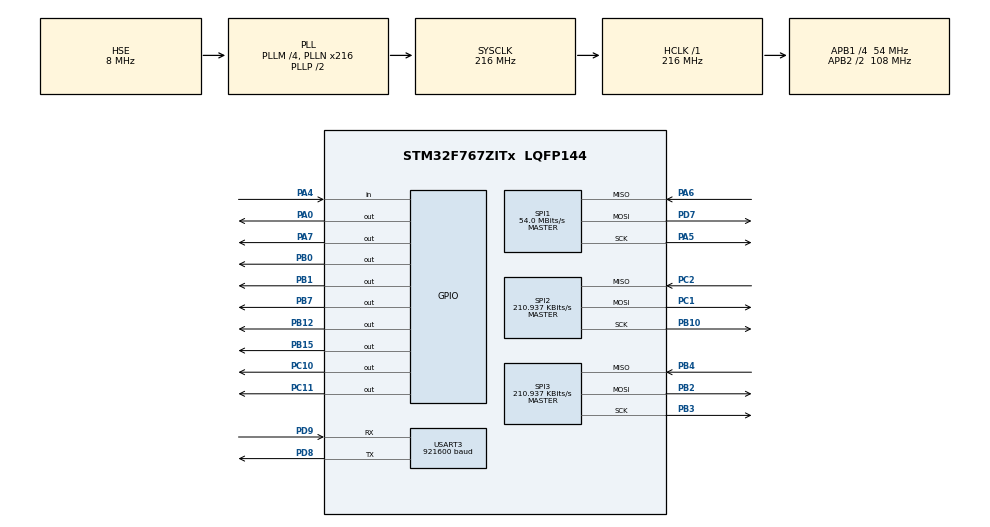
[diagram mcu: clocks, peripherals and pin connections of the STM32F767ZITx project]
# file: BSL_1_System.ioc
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Dma.Request0=USART3_RX
Dma.USART3_RX.0.Direction=DMA_PERIPH_TO_MEMORY
Dma.USART3_RX.0.FIFOMode=DMA_FIFOMODE_DISABLE
Dma.USART3_RX.0.Instance=DMA1_Stream1
Dma.USART3_RX.0.MemDataAlignment=DMA_MDATAALIGN_BYTE
Dma.USART3_RX.0.MemInc=DMA_MINC_ENABLE
Dma.USART3_RX.0.Mode=DMA_NORMAL
Dma.USART3_RX.0.PeriphDataAlignment=DMA_PDATAALIGN_BYTE
Dma.USART3_RX.0.PeriphInc=DMA_PINC_DISABLE
Dma.USART3_RX.0.Priority=DMA_PRIORITY_LOW
Mcu.Family=STM32F7
Mcu.Name=STM32F767ZITx
Mcu.Package=LQFP144
NVIC.DMA1_Stream1_IRQn=true\:0\:0\:false\:false\:true\:false\:true
NVIC.PriorityGroup=NVIC_PRIORITYGROUP_4
NVIC.USART3_IRQn=true\:0\:0\:false\:false\:true\:true\:true
PA0/WKUP.GPIO_Speed=GPIO_SPEED_FREQ_VERY_HIGH
PA0/WKUP.Signal=GPIO_Output
PA4.Signal=GPIO_Input
PA5.Mode=Full_Duplex_Master
PA5.Signal=SPI1_SCK
PA6.Mode=Full_Duplex_Master
PA6.Signal=SPI1_MISO
PA7.GPIO_Speed=GPIO_SPEED_FREQ_VERY_HIGH
PA7.Signal=GPIO_Output
PB0.GPIO_Speed=GPIO_SPEED_FREQ_VERY_HIGH
PB0.PinState=GPIO_PIN_SET
PB0.Signal=GPIO_Output
PB1.GPIO_Speed=GPIO_SPEED_FREQ_VERY_HIGH
PB1.Signal=GPIO_Output
PB10.Mode=Full_Duplex_Master
PB10.Signal=SPI2_SCK
PB12.GPIO_Speed=GPIO_SPEED_FREQ_VERY_HIGH
PB12.Signal=GPIO_Output
PB15.GPIO_Speed=GPIO_SPEED_FREQ_VERY_HIGH
PB15.Signal=GPIO_Output
PB2.Mode=Full_Duplex_Master
PB2.Signal=SPI3_MOSI
PB3.Mode=Full_Duplex_Master
PB3.Signal=SPI3_SCK
PB4.Mode=Full_Duplex_Master
PB4.Signal=SPI3_MISO
PB7.Signal=GPIO_Output
PC1.Mode=Full_Duplex_Master
PC1.Signal=SPI2_MOSI
PC10.Signal=GPIO_Output
PC11.GPIO_Speed=GPIO_SPEED_FREQ_VERY_HIGH
PC11.PinState=GPIO_PIN_SET
PC11.Signal=GPIO_Output
PC2.Mode=Full_Duplex_Master
PC2.Signal=SPI2_MISO
PD7.Mode=Full_Duplex_Master
PD7.Signal=SPI1_MOSI
PD8.Mode=Asynchronous
PD8.Signal=USART3_TX
PD9.Mode=Asynchronous
PD9.Signal=USART3_RX
PH0/OSC_IN.Mode=HSE-External-Oscillator
PH0/OSC_IN.Signal=RCC_OSC_IN
PH1/OSC_OUT.Mode=HSE-External-Oscillator
PH1/OSC_OUT.Signal=RCC_OSC_OUT
ProjectManager.HeapSize=0x200
ProjectManager.StackSize=0x400
ProjectManager.TargetToolchain=STM32CubeIDE
RCC.AHBFreq_Value=216000000
RCC.APB1CLKDivider=RCC_HCLK_DIV4
RCC.APB1Freq_Value=54000000
RCC.APB1TimFreq_Value=108000000
RCC.APB2CLKDivider=RCC_HCLK_DIV2
RCC.APB2Freq_Value=108000000
RCC.APB2TimFreq_Value=216000000
RCC.CortexFreq_Value=216000000
RCC.HCLKFreq_Value=216000000
RCC.HSE_VALUE=8000000
RCC.HSI_VALUE=16000000
RCC.LSE_VALUE=32768
RCC.PLLM=4
RCC.PLLN=216
RCC.PLLQ=12
RCC.PLLSourceVirtual=RCC_PLLSOURCE_HSE
RCC.SYSCLKFreq_VALUE=216000000
RCC.SYSCLKSource=RCC_SYSCLKSOURCE_PLLCLK
RCC.USBFreq_Value=36000000
RCC.VCOOutputFreq_Value=432000000
SPI1.BaudRatePrescaler=SPI_BAUDRATEPRESCALER_2
SPI1.CalculateBaudRate=54.0 MBits/s
SPI1.DataSize=SPI_DATASIZE_12BIT
SPI1.Direction=SPI_DIRECTION_2LINES
SPI1.Mode=SPI_MODE_MASTER
SPI1.VirtualType=VM_MASTER
SPI2.BaudRatePrescaler=SPI_BAUDRATEPRESCALER_256
SPI2.CLKPolarity=SPI_POLARITY_HIGH
SPI2.CalculateBaudRate=210.937 KBits/s
SPI2.DataSize=SPI_DATASIZE_16BIT
SPI2.Direction=SPI_DIRECTION_2LINES
SPI2.Mode=SPI_MODE_MASTER
SPI2.VirtualType=VM_MASTER
SPI3.BaudRatePrescaler=SPI_BAUDRATEPRESCALER_256
SPI3.CLKPolarity=SPI_POLARITY_HIGH
SPI3.CalculateBaudRate=210.937 KBits/s
SPI3.DataSize=SPI_DATASIZE_16BIT
SPI3.Direction=SPI_DIRECTION_2LINES
SPI3.Mode=SPI_MODE_MASTER
SPI3.VirtualType=VM_MASTER
TIM1.Channel-PWM\ Generation5\ No\ Output=TIM_CHANNEL_5
TIM1.OCFastMode_PWM-PWM\ Generation5\ No\ Output=TIM_OCFAST_ENABLE
TIM1.OCPolarity_5=TIM_OCPOLARITY_LOW
TIM2.Period=0xFFFF-1
USART3.BaudRate=921600
USART3.VirtualMode-Asynchronous=VM_ASYNC
VP_TIM1_VS_ClockSourceINT.Mode=Internal
VP_TIM1_VS_no_output5.Mode=PWM Generation5 No Output
VP_TIM2_VS_ClockSourceINT.Mode=Internal
board=custom

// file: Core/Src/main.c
/* USER CODE BEGIN Header */
/**
  ******************************************************************************
  * @file           : main.c
  * @brief          : Main program body
  ******************************************************************************
	WRITTEN BY A. DI GIROLAMO IN JULY 2020 FOR THE MAGICOIL PROJECT
	LAST REVISION: SEPTEMBER 7th 2020
  ******************************************************************************
  */
/* USER CODE END Header */

#include "main.h"

/* USER CODE BEGIN Includes */
#include "math.h"
/* USER CODE END Includes */

/* USER CODE BEGIN PTD */
#define samplesize 170000
/* USER CODE END PTD */

SPI_HandleTypeDef hspi2;
SPI_HandleTypeDef hspi3;

TIM_HandleTypeDef htim1;
TIM_HandleTypeDef htim2;

UART_HandleTypeDef huart3;
DMA_HandleTypeDef hdma_usart3_rx;

void SystemClock_Config(void);
static void MX_GPIO_Init(void);
static void MX_DMA_Init(void);
static void MX_SPI1_Init(void);
static void MX_SPI2_Init(void);
static void MX_TIM1_Init(void);
static void MX_USART3_UART_Init(void);
static void MX_TIM2_Init(void);
static void MX_SPI3_Init(void);

/* USER CODE BEGIN 0 */
uint8_t the_stuff[3][samplesize];
uint32_t read_data;
uint16_t sampleRateDivider = 700;

void delay_10ns (uint16_t us)
{
	__HAL_TIM_SET_COUNTER(&htim2,0);  // set the counter value a 0
	while (__HAL_TIM_GET_COUNTER(&htim2) < us);  // wait for the counter to reach the us input in the parameter
}

void adcRead1000(){
	uint32_t i;
	for(i = 0; i<samplesize; i++){
		LL_GPIO_SetOutputPin(GPIOA, LL_GPIO_PIN_7);
		LL_GPIO_ResetOutputPin(GPIOA, LL_GPIO_PIN_7);
		while (LL_SPI_IsActiveFlag_RXNE(SPI1))
		{
			(void)(uint16_t)(READ_REG(SPI1->DR)); // flush any FIFO content
		}
		__IO uint16_t *spidr = ((__IO uint16_t *)&SPI1->DR);
		*spidr = 0xFFFF;
		uint16_t first = (uint16_t)(READ_REG(SPI1->DR));
		*spidr = 0xFFFF;
		uint16_t second = (uint16_t)(READ_REG(SPI1->DR));
		uint32_t first2 = first;
		read_data = ((first2<<12)+(second));
		the_stuff[2][i] = read_data;
		the_stuff[1][i] = (read_data >> 8);
		the_stuff[0][i] = (read_data >> 16);
		//delay_10ns(sampleRateDivider);
	}
}

void transmit1000(){
	uint32_t i;
	uint32_t j;
	for(i  = 0; i <samplesize; i++){
		for(j = 0; j<3; j++){
			HAL_UART_Transmit(&huart3, (uint8_t*)&the_stuff[j][i], sizeof(the_stuff[j][i]), 0xFFFF);
		}
	}
}
void AD9833_tx2(SPI_HandleTypeDef *hspi, uint16_t dt, uint8_t DDS_Num) {
	uint16_t data[1] = { 0 };
	data[0] = dt;
	LL_GPIO_ResetOutputPin(GPIOB, LL_GPIO_PIN_15);
	HAL_SPI_Transmit(hspi, (uint8_t * )&data[0], 1, HAL_MAX_DELAY);
	LL_GPIO_SetOutputPin(GPIOB, LL_GPIO_PIN_15);

}

void AD9833_Init2(SPI_HandleTypeDef *hspi, uint8_t DDS_Num) {
	uint16_t data;
	data = 0x21 << 8;
	AD9833_tx2(hspi, data, DDS_Num);
}
uint64_t AD9833_freq_calc2(uint64_t freq, uint64_t clk) {
	static uint64_t ret;
	static uint64_t retf;

	retf = (freq * (2 << 27)) / clk;
	ret = retf;
	return ret;
}
void AD9833_set2(SPI_HandleTypeDef *hspi, uint32_t freq, uint16_t phase,
		uint8_t reset, uint8_t DDS_Num) {

	static uint16_t fq1maskand = 0b0011111111111111;
	static uint16_t fq1maskor = 0b0100000000000000;
	static uint16_t ph1maskand = 0b1101111111111111;
	static uint16_t ph1markor = 0b1100000000000000;
	static uint16_t ftmask = 0b0011111111111111;
	static uint16_t twmask = 0b0000111111111111;

	static uint16_t fqlsb;
	static uint16_t fqmsb;

	static uint64_t FreqReg;
	static uint16_t PhReg;
	const uint64_t fmclk = 25000000;

	if (reset)
		AD9833_Init2(hspi, DDS_Num);

	FreqReg = AD9833_freq_calc2(freq, fmclk);
	fqlsb = FreqReg & ftmask;
	fqmsb = (FreqReg >> 14) & ftmask;

	fqlsb = fq1maskand & fqlsb;
	fqlsb = fq1maskor | fqlsb;
	fqmsb = fq1maskand & fqmsb;
	fqmsb = fq1maskor | fqmsb;

	PhReg = (phase * 2 * M_PI) / 4096;
	PhReg &= twmask;

	PhReg &= ph1maskand;
	PhReg |= ph1markor;

	AD9833_tx2(hspi, fqlsb, DDS_Num);
	AD9833_tx2(hspi, fqmsb, DDS_Num);
	AD9833_tx2(hspi, PhReg, DDS_Num);
	if (reset)
		AD9833_tx2(hspi, 0x2000, DDS_Num);
}
// NUMBER 1 DDS:
void AD9833_tx(SPI_HandleTypeDef *hspi, uint16_t dt, uint8_t DDS_Num) {
	uint16_t data[1] = { 0 };
	data[0] = dt;
	LL_GPIO_ResetOutputPin(GPIOB, LL_GPIO_PIN_12);
	HAL_SPI_Transmit(hspi, (uint8_t * )&data[0], 1, HAL_MAX_DELAY);
	LL_GPIO_SetOutputPin(GPIOB, LL_GPIO_PIN_12);
}

void AD9833_Init(SPI_HandleTypeDef *hspi, uint8_t DDS_Num) {
	uint16_t data;
	data = 0x21 << 8;
	AD9833_tx(hspi, data, DDS_Num);
}
uint64_t AD9833_freq_calc(uint64_t freq, uint64_t clk) {
	static uint64_t ret;
	static uint64_t retf;

	retf = (freq * (2 << 27)) / clk;
	ret = retf;
	return ret;
}
void AD9833_set(SPI_HandleTypeDef *hspi, uint32_t freq, uint16_t phase,
		uint8_t reset, uint8_t DDS_Num) {

	static uint16_t fq1maskand = 0b0011111111111111;
	static uint16_t fq1maskor = 0b0100000000000000;
	static uint16_t ph1maskand = 0b1101111111111111;
	static uint16_t ph1markor = 0b1100000000000000;
	static uint16_t ftmask = 0b0011111111111111;
	static uint16_t twmask = 0b0000111111111111;

	static uint16_t fqlsb;
	static uint16_t fqmsb;

	static uint64_t FreqReg;
	static uint16_t PhReg;
	const uint64_t fmclk = 25000000;

	if (reset)
		AD9833_Init(hspi, DDS_Num);

	FreqReg = AD9833_freq_calc(freq, fmclk);
	fqlsb = FreqReg & ftmask;
	fqmsb = (FreqReg >> 14) & ftmask;

	fqlsb = fq1maskand & fqlsb;
	fqlsb = fq1maskor | fqlsb;
	fqmsb = fq1maskand & fqmsb;
	fqmsb = fq1maskor | fqmsb;

	PhReg = (phase * 2 * M_PI) / 4096;
	PhReg &= twmask;

	PhReg &= ph1maskand;
	PhReg |= ph1markor;

	AD9833_tx(hspi, fqlsb, DDS_Num);
	AD9833_tx(hspi, fqmsb, DDS_Num);
	AD9833_tx(hspi, PhReg, DDS_Num);
	if (reset)
		AD9833_tx(hspi, 0x2000, DDS_Num);
}
uint8_t myRxData[2];
uint8_t myTxData[1] = {0xAA};
uint8_t FreqFlag = 0;
uint8_t FreqFlag2 = 0;
uint16_t FrequencyH = 0;
uint16_t FrequencyL = 0;
uint8_t a[2] = {0xAA,0};
uint8_t b[2] = {0xBB,0};
uint8_t c[2] = {0xFF,0};
uint8_t d_to_dds[2] = {'1',0};
uint8_t needtoadj = 0;

void HAL_UART_RxCpltCallback(UART_HandleTypeDef *huart){
	UNUSED(huart);
	/*if(FreqFlag == 1){
		FrequencyL = myRxData[0]*myRxData[1];
		FreqFlag = 0;
		FreqFlag2 = 1;
		HAL_UART_Receive_DMA(&huart3, myRxData, 2);
		return;
	}if(FreqFlag2 == 1){
		if(myRxData[1] != 1){
			FrequencyH = myRxData[0]*powf(10, myRxData[1]); // end my life please
		}else{
			FrequencyH = myRxData[0]*myRxData[1];
		}
		FreqFlag2 = 0;
		needtoadj = 1;
		HAL_UART_Receive_DMA(&huart3, myRxData, 2); // just kidding
		return;
	}*/
	if((myRxData[0] == 'a' )&& (myRxData[1] == 'a')){
		HAL_UART_Transmit(&huart3, (uint8_t * )&a[0], sizeof(a[0]), 0xFFFF);
    }else if((myRxData[0] == 'b' )&& (myRxData[1] == 'b')){
    	adcRead1000();
    	HAL_UART_Transmit(&huart3, (uint8_t * )&b[0], sizeof(b[0]), 0xFFFF);
    }else if((myRxData[0] == 'c' )&& (myRxData[1] == 'c')){
    	transmit1000();
	}/*else if((myRxData[0] == 'l' )&& (myRxData[1] == 'l')){
		FreqFlag = 1;
	}else if(myRxData[0] == '1'){
		d_to_dds[1] = myRxData[1];
	}*/
	HAL_UART_Receive_DMA(&huart3, myRxData, 2);
}
/* USER CODE END 0 */

int main(void)
{

  /* MCU Configuration--------------------------------------------------------*/

  /* Reset of all peripherals, Initializes the Flash interface and the Systick. */
  HAL_Init();

  /* Configure the system clock */
  SystemClock_Config();

  /* Initialize all configured peripherals */
  MX_GPIO_Init();
  MX_DMA_Init();
  MX_SPI1_Init();
  MX_SPI2_Init();
  MX_TIM1_Init();
  MX_USART3_UART_Init();
  MX_TIM2_Init();
  MX_SPI3_Init();
  /* USER CODE BEGIN 2 */

  //AD9833_set(&hspi2, 5000, 0, 1, 1);
  HAL_Delay(1000);
  //AD9833_set(&hspi2, 50, 0,1, 2);
  HAL_Delay(100);
  LL_SPI_Enable(SPI1);
  HAL_UART_Receive_DMA(&huart3, myRxData, 2);
  HAL_Delay(500);
  AD9833_set(&hspi2, 5000, 0, 1, 1);
  AD9833_set2(&hspi3, 50, 0, 1, 1);
  AD9833_set(&hspi2, 5000, 0, 1, 1);

  /* USER CODE END 2 */

  /* Infinite loop */
  /* USER CODE BEGIN WHILE */
  while (1)
  {
	  LL_GPIO_SetOutputPin(GPIOA, LL_GPIO_PIN_0);
	  HAL_Delay(500);
	  LL_GPIO_ResetOutputPin(GPIOA, LL_GPIO_PIN_0);
	  HAL_Delay(500);
    /* USER CODE END WHILE */

  }
}

void SystemClock_Config(void)
{
  RCC_OscInitTypeDef RCC_OscInitStruct = {0};
  RCC_ClkInitTypeDef RCC_ClkInitStruct = {0};
  RCC_PeriphCLKInitTypeDef PeriphClkInitStruct = {0};

  /** Configure the main internal regulator output voltage
  */
  __HAL_RCC_PWR_CLK_ENABLE();
  __HAL_PWR_VOLTAGESCALING_CONFIG(PWR_REGULATOR_VOLTAGE_SCALE1);
  /** Initializes the CPU, AHB and APB busses clocks
  */
  RCC_OscInitStruct.OscillatorType = RCC_OSCILLATORTYPE_HSE;
  RCC_OscInitStruct.HSEState = RCC_HSE_ON;
  RCC_OscInitStruct.PLL.PLLState = RCC_PLL_ON;
  RCC_OscInitStruct.PLL.PLLSource = RCC_PLLSOURCE_HSE;
  RCC_OscInitStruct.PLL.PLLM = 4;
  RCC_OscInitStruct.PLL.PLLN = 216;
  RCC_OscInitStruct.PLL.PLLP = RCC_PLLP_DIV2;
  RCC_OscInitStruct.PLL.PLLQ = 12;
  if (HAL_RCC_OscConfig(&RCC_OscInitStruct) != HAL_OK)
  {
    Error_Handler();
  }
  /** Activate the Over-Drive mode
  */
  if (HAL_PWREx_EnableOverDrive() != HAL_OK)
  {
    Error_Handler();
  }
  /** Initializes the CPU, AHB and APB busses clocks
  */
  RCC_ClkInitStruct.ClockType = RCC_CLOCKTYPE_HCLK|RCC_CLOCKTYPE_SYSCLK
                              |RCC_CLOCKTYPE_PCLK1|RCC_CLOCKTYPE_PCLK2;
  RCC_ClkInitStruct.SYSCLKSource = RCC_SYSCLKSOURCE_PLLCLK;
  RCC_ClkInitStruct.AHBCLKDivider = RCC_SYSCLK_DIV1;
  RCC_ClkInitStruct.APB1CLKDivider = RCC_HCLK_DIV4;
  RCC_ClkInitStruct.APB2CLKDivider = RCC_HCLK_DIV2;

  if (HAL_RCC_ClockConfig(&RCC_ClkInitStruct, FLASH_LATENCY_7) != HAL_OK)
  {
    Error_Handler();
  }
  PeriphClkInitStruct.PeriphClockSelection = RCC_PERIPHCLK_USART3;
  PeriphClkInitStruct.Usart3ClockSelection = RCC_USART3CLKSOURCE_PCLK1;
  if (HAL_RCCEx_PeriphCLKConfig(&PeriphClkInitStruct) != HAL_OK)
  {
    Error_Handler();
  }
}

static void MX_SPI1_Init(void)
{

  LL_SPI_InitTypeDef SPI_InitStruct = {0};

  LL_GPIO_InitTypeDef GPIO_InitStruct = {0};

  /* Peripheral clock enable */
  LL_APB2_GRP1_EnableClock(LL_APB2_GRP1_PERIPH_SPI1);

  LL_AHB1_GRP1_EnableClock(LL_AHB1_GRP1_PERIPH_GPIOA);
  LL_AHB1_GRP1_EnableClock(LL_AHB1_GRP1_PERIPH_GPIOD);
  /**SPI1 GPIO Configuration
  PA5   ------> SPI1_SCK
  PA6   ------> SPI1_MISO
  PD7   ------> SPI1_MOSI
  */
  GPIO_InitStruct.Pin = LL_GPIO_PIN_5;
  GPIO_InitStruct.Mode = LL_GPIO_MODE_ALTERNATE;
  GPIO_InitStruct.Speed = LL_GPIO_SPEED_FREQ_VERY_HIGH;
  GPIO_InitStruct.OutputType = LL_GPIO_OUTPUT_PUSHPULL;
  GPIO_InitStruct.Pull = LL_GPIO_PULL_NO;
  GPIO_InitStruct.Alternate = LL_GPIO_AF_5;
  LL_GPIO_Init(GPIOA, &GPIO_InitStruct);

  GPIO_InitStruct.Pin = LL_GPIO_PIN_6;
  GPIO_InitStruct.Mode = LL_GPIO_MODE_ALTERNATE;
  GPIO_InitStruct.Speed = LL_GPIO_SPEED_FREQ_VERY_HIGH;
  GPIO_InitStruct.OutputType = LL_GPIO_OUTPUT_PUSHPULL;
  GPIO_InitStruct.Pull = LL_GPIO_PULL_NO;
  GPIO_InitStruct.Alternate = LL_GPIO_AF_5;
  LL_GPIO_Init(GPIOA, &GPIO_InitStruct);

  GPIO_InitStruct.Pin = LL_GPIO_PIN_7;
  GPIO_InitStruct.Mode = LL_GPIO_MODE_ALTERNATE;
  GPIO_InitStruct.Speed = LL_GPIO_SPEED_FREQ_VERY_HIGH;
  GPIO_InitStruct.OutputType = LL_GPIO_OUTPUT_PUSHPULL;
  GPIO_InitStruct.Pull = LL_GPIO_PULL_NO;
  GPIO_InitStruct.Alternate = LL_GPIO_AF_5;
  LL_GPIO_Init(GPIOD, &GPIO_InitStruct);

  /* SPI1 parameter configuration*/
  SPI_InitStruct.TransferDirection = LL_SPI_FULL_DUPLEX;
  SPI_InitStruct.Mode = LL_SPI_MODE_MASTER;
  SPI_InitStruct.DataWidth = LL_SPI_DATAWIDTH_12BIT;
  SPI_InitStruct.ClockPolarity = LL_SPI_POLARITY_LOW;
  SPI_InitStruct.ClockPhase = LL_SPI_PHASE_1EDGE;
  SPI_InitStruct.NSS = LL_SPI_NSS_SOFT;
  SPI_InitStruct.BaudRate = LL_SPI_BAUDRATEPRESCALER_DIV2;
  SPI_InitStruct.BitOrder = LL_SPI_MSB_FIRST;
  SPI_InitStruct.CRCCalculation = LL_SPI_CRCCALCULATION_DISABLE;
  SPI_InitStruct.CRCPoly = 7;
  LL_SPI_Init(SPI1, &SPI_InitStruct);
  LL_SPI_SetStandard(SPI1, LL_SPI_PROTOCOL_MOTOROLA);
  LL_SPI_EnableNSSPulseMgt(SPI1);

}

static void MX_SPI2_Init(void)
{

  /* SPI2 parameter configuration*/
  hspi2.Instance = SPI2;
  hspi2.Init.Mode = SPI_MODE_MASTER;
  hspi2.Init.Direction = SPI_DIRECTION_2LINES;
  hspi2.Init.DataSize = SPI_DATASIZE_16BIT;
  hspi2.Init.CLKPolarity = SPI_POLARITY_HIGH;
  hspi2.Init.CLKPhase = SPI_PHASE_1EDGE;
  hspi2.Init.NSS = SPI_NSS_SOFT;
  hspi2.Init.BaudRatePrescaler = SPI_BAUDRATEPRESCALER_256;
  hspi2.Init.FirstBit = SPI_FIRSTBIT_MSB;
  hspi2.Init.TIMode = SPI_TIMODE_DISABLE;
  hspi2.Init.CRCCalculation = SPI_CRCCALCULATION_DISABLE;
  hspi2.Init.CRCPolynomial = 7;
  hspi2.Init.CRCLength = SPI_CRC_LENGTH_DATASIZE;
  hspi2.Init.NSSPMode = SPI_NSS_PULSE_ENABLE;
  if (HAL_SPI_Init(&hspi2) != HAL_OK)
  {
    Error_Handler();
  }

}

static void MX_SPI3_Init(void)
{

  /* SPI3 parameter configuration*/
  hspi3.Instance = SPI3;
  hspi3.Init.Mode = SPI_MODE_MASTER;
  hspi3.Init.Direction = SPI_DIRECTION_2LINES;
  hspi3.Init.DataSize = SPI_DATASIZE_16BIT;
  hspi3.Init.CLKPolarity = SPI_POLARITY_HIGH;
  hspi3.Init.CLKPhase = SPI_PHASE_1EDGE;
  hspi3.Init.NSS = SPI_NSS_SOFT;
  hspi3.Init.BaudRatePrescaler = SPI_BAUDRATEPRESCALER_256;
  hspi3.Init.FirstBit = SPI_FIRSTBIT_MSB;
  hspi3.Init.TIMode = SPI_TIMODE_DISABLE;
  hspi3.Init.CRCCalculation = SPI_CRCCALCULATION_DISABLE;
  hspi3.Init.CRCPolynomial = 7;
  hspi3.Init.CRCLength = SPI_CRC_LENGTH_DATASIZE;
  hspi3.Init.NSSPMode = SPI_NSS_PULSE_ENABLE;
  if (HAL_SPI_Init(&hspi3) != HAL_OK)
  {
    Error_Handler();
  }

}

static void MX_TIM1_Init(void)
{

  TIM_ClockConfigTypeDef sClockSourceConfig = {0};
  TIM_MasterConfigTypeDef sMasterConfig = {0};
  TIM_OC_InitTypeDef sConfigOC = {0};
  TIM_BreakDeadTimeConfigTypeDef sBreakDeadTimeConfig = {0};

  htim1.Instance = TIM1;
  htim1.Init.Prescaler = 0;
  htim1.Init.CounterMode = TIM_COUNTERMODE_UP;
  htim1.Init.Period = 0;
  htim1.Init.ClockDivision = TIM_CLOCKDIVISION_DIV1;
  htim1.Init.RepetitionCounter = 0;
  htim1.Init.AutoReloadPreload = TIM_AUTORELOAD_PRELOAD_DISABLE;
  if (HAL_TIM_Base_Init(&htim1) != HAL_OK)
  {
    Error_Handler();
  }
  sClockSourceConfig.ClockSource = TIM_CLOCKSOURCE_INTERNAL;
  if (HAL_TIM_ConfigClockSource(&htim1, &sClockSourceConfig) != HAL_OK)
  {
    Error_Handler();
  }
  if (HAL_TIM_PWM_Init(&htim1) != HAL_OK)
  {
    Error_Handler();
  }
  sMasterConfig.MasterOutputTrigger = TIM_TRGO_RESET;
  sMasterConfig.MasterOutputTrigger2 = TIM_TRGO2_RESET;
  sMasterConfig.MasterSlaveMode = TIM_MASTERSLAVEMODE_DISABLE;
  if (HAL_TIMEx_MasterConfigSynchronization(&htim1, &sMasterConfig) != HAL_OK)
  {
    Error_Handler();
  }
  sConfigOC.OCMode = TIM_OCMODE_PWM1;
  sConfigOC.Pulse = 0;
  sConfigOC.OCPolarity = TIM_OCPOLARITY_LOW;
  sConfigOC.OCFastMode = TIM_OCFAST_ENABLE;
  sConfigOC.OCIdleState = TIM_OCIDLESTATE_RESET;
  if (HAL_TIM_PWM_ConfigChannel(&htim1, &sConfigOC, TIM_CHANNEL_5) != HAL_OK)
  {
    Error_Handler();
  }
  sBreakDeadTimeConfig.OffStateRunMode = TIM_OSSR_DISABLE;
  sBreakDeadTimeConfig.OffStateIDLEMode = TIM_OSSI_DISABLE;
  sBreakDeadTimeConfig.LockLevel = TIM_LOCKLEVEL_OFF;
  sBreakDeadTimeConfig.DeadTime = 0;
  sBreakDeadTimeConfig.BreakState = TIM_BREAK_DISABLE;
  sBreakDeadTimeConfig.BreakPolarity = TIM_BREAKPOLARITY_HIGH;
  sBreakDeadTimeConfig.BreakFilter = 0;
  sBreakDeadTimeConfig.Break2State = TIM_BREAK2_DISABLE;
  sBreakDeadTimeConfig.Break2Polarity = TIM_BREAK2POLARITY_HIGH;
  sBreakDeadTimeConfig.Break2Filter = 0;
  sBreakDeadTimeConfig.AutomaticOutput = TIM_AUTOMATICOUTPUT_DISABLE;
  if (HAL_TIMEx_ConfigBreakDeadTime(&htim1, &sBreakDeadTimeConfig) != HAL_OK)
  {
    Error_Handler();
  }

}

static void MX_TIM2_Init(void)
{

  TIM_ClockConfigTypeDef sClockSourceConfig = {0};
  TIM_MasterConfigTypeDef sMasterConfig = {0};

  htim2.Instance = TIM2;
  htim2.Init.Prescaler = 0;
  htim2.Init.CounterMode = TIM_COUNTERMODE_UP;
  htim2.Init.Period = 0xFFFF-1;
  htim2.Init.ClockDivision = TIM_CLOCKDIVISION_DIV1;
  htim2.Init.AutoReloadPreload = TIM_AUTORELOAD_PRELOAD_DISABLE;
  if (HAL_TIM_Base_Init(&htim2) != HAL_OK)
  {
    Error_Handler();
  }
  sClockSourceConfig.ClockSource = TIM_CLOCKSOURCE_INTERNAL;
  if (HAL_TIM_ConfigClockSource(&htim2, &sClockSourceConfig) != HAL_OK)
  {
    Error_Handler();
  }
  sMasterConfig.MasterOutputTrigger = TIM_TRGO_RESET;
  sMasterConfig.MasterSlaveMode = TIM_MASTERSLAVEMODE_DISABLE;
  if (HAL_TIMEx_MasterConfigSynchronization(&htim2, &sMasterConfig) != HAL_OK)
  {
    Error_Handler();
  }

}

static void MX_USART3_UART_Init(void)
{

  huart3.Instance = USART3;
  huart3.Init.BaudRate = 921600;
  huart3.Init.WordLength = UART_WORDLENGTH_8B;
  huart3.Init.StopBits = UART_STOPBITS_1;
  huart3.Init.Parity = UART_PARITY_NONE;
  huart3.Init.Mode = UART_MODE_TX_RX;
  huart3.Init.HwFlowCtl = UART_HWCONTROL_NONE;
  huart3.Init.OverSampling = UART_OVERSAMPLING_16;
  huart3.Init.OneBitSampling = UART_ONE_BIT_SAMPLE_DISABLE;
  huart3.AdvancedInit.AdvFeatureInit = UART_ADVFEATURE_NO_INIT;
  if (HAL_UART_Init(&huart3) != HAL_OK)
  {
    Error_Handler();
  }

}

static void MX_DMA_Init(void)
{

  /* DMA controller clock enable */
  __HAL_RCC_DMA1_CLK_ENABLE();

  /* DMA interrupt init */
  /* DMA1_Stream1_IRQn interrupt configuration */
  HAL_NVIC_SetPriority(DMA1_Stream1_IRQn, 0, 0);
  HAL_NVIC_EnableIRQ(DMA1_Stream1_IRQn);

}

static void MX_GPIO_Init(void)
{
  LL_GPIO_InitTypeDef GPIO_InitStruct = {0};

  /* GPIO Ports Clock Enable */
  LL_AHB1_GRP1_EnableClock(LL_AHB1_GRP1_PERIPH_GPIOH);
  LL_AHB1_GRP1_EnableClock(LL_AHB1_GRP1_PERIPH_GPIOC);
  LL_AHB1_GRP1_EnableClock(LL_AHB1_GRP1_PERIPH_GPIOA);
  LL_AHB1_GRP1_EnableClock(LL_AHB1_GRP1_PERIPH_GPIOB);
  LL_AHB1_GRP1_EnableClock(LL_AHB1_GRP1_PERIPH_GPIOD);

  /**/
  LL_GPIO_ResetOutputPin(GPIOA, LL_GPIO_PIN_0);

  /**/
  LL_GPIO_ResetOutputPin(GPIOA, LL_GPIO_PIN_7);

  /**/
  LL_GPIO_ResetOutputPin(GPIOB, LL_GPIO_PIN_1);

  /**/
  LL_GPIO_ResetOutputPin(GPIOB, LL_GPIO_PIN_12);

  /**/
  LL_GPIO_ResetOutputPin(GPIOB, LL_GPIO_PIN_15);

  /**/
  LL_GPIO_ResetOutputPin(GPIOC, LL_GPIO_PIN_10);

  /**/
  LL_GPIO_ResetOutputPin(GPIOB, LL_GPIO_PIN_7);

  /**/
  LL_GPIO_SetOutputPin(GPIOB, LL_GPIO_PIN_0);

  /**/
  LL_GPIO_SetOutputPin(GPIOC, LL_GPIO_PIN_11);

  /**/
  GPIO_InitStruct.Pin = LL_GPIO_PIN_0;
  GPIO_InitStruct.Mode = LL_GPIO_MODE_OUTPUT;
  GPIO_InitStruct.Speed = LL_GPIO_SPEED_FREQ_VERY_HIGH;
  GPIO_InitStruct.OutputType = LL_GPIO_OUTPUT_PUSHPULL;
  GPIO_InitStruct.Pull = LL_GPIO_PULL_NO;
  LL_GPIO_Init(GPIOA, &GPIO_InitStruct);

  /**/
  GPIO_InitStruct.Pin = LL_GPIO_PIN_4;
  GPIO_InitStruct.Mode = LL_GPIO_MODE_INPUT;
  GPIO_InitStruct.Pull = LL_GPIO_PULL_NO;
  LL_GPIO_Init(GPIOA, &GPIO_InitStruct);

  /**/
  GPIO_InitStruct.Pin = LL_GPIO_PIN_7;
  GPIO_InitStruct.Mode = LL_GPIO_MODE_OUTPUT;
  GPIO_InitStruct.Speed = LL_GPIO_SPEED_FREQ_VERY_HIGH;
  GPIO_InitStruct.OutputType = LL_GPIO_OUTPUT_PUSHPULL;
  GPIO_InitStruct.Pull = LL_GPIO_PULL_NO;
  LL_GPIO_Init(GPIOA, &GPIO_InitStruct);

  /**/
  GPIO_InitStruct.Pin = LL_GPIO_PIN_0;
  GPIO_InitStruct.Mode = LL_GPIO_MODE_OUTPUT;
  GPIO_InitStruct.Speed = LL_GPIO_SPEED_FREQ_VERY_HIGH;
  GPIO_InitStruct.OutputType = LL_GPIO_OUTPUT_PUSHPULL;
  GPIO_InitStruct.Pull = LL_GPIO_PULL_NO;
  LL_GPIO_Init(GPIOB, &GPIO_InitStruct);

  /**/
  GPIO_InitStruct.Pin = LL_GPIO_PIN_1;
  GPIO_InitStruct.Mode = LL_GPIO_MODE_OUTPUT;
  GPIO_InitStruct.Speed = LL_GPIO_SPEED_FREQ_VERY_HIGH;
  GPIO_InitStruct.OutputType = LL_GPIO_OUTPUT_PUSHPULL;
  GPIO_InitStruct.Pull = LL_GPIO_PULL_NO;
  LL_GPIO_Init(GPIOB, &GPIO_InitStruct);

  /**/
  GPIO_InitStruct.Pin = LL_GPIO_PIN_12;
  GPIO_InitStruct.Mode = LL_GPIO_MODE_OUTPUT;
  GPIO_InitStruct.Speed = LL_GPIO_SPEED_FREQ_VERY_HIGH;
  GPIO_InitStruct.OutputType = LL_GPIO_OUTPUT_PUSHPULL;
  GPIO_InitStruct.Pull = LL_GPIO_PULL_NO;
  LL_GPIO_Init(GPIOB, &GPIO_InitStruct);

  /**/
  GPIO_InitStruct.Pin = LL_GPIO_PIN_15;
  GPIO_InitStruct.Mode = LL_GPIO_MODE_OUTPUT;
  GPIO_InitStruct.Speed = LL_GPIO_SPEED_FREQ_VERY_HIGH;
  GPIO_InitStruct.OutputType = LL_GPIO_OUTPUT_PUSHPULL;
  GPIO_InitStruct.Pull = LL_GPIO_PULL_NO;
  LL_GPIO_Init(GPIOB, &GPIO_InitStruct);

  /**/
  GPIO_InitStruct.Pin = LL_GPIO_PIN_10;
  GPIO_InitStruct.Mode = LL_GPIO_MODE_OUTPUT;
  GPIO_InitStruct.Speed = LL_GPIO_SPEED_FREQ_LOW;
  GPIO_InitStruct.OutputType = LL_GPIO_OUTPUT_PUSHPULL;
  GPIO_InitStruct.Pull = LL_GPIO_PULL_NO;
  LL_GPIO_Init(GPIOC, &GPIO_InitStruct);

  /**/
  GPIO_InitStruct.Pin = LL_GPIO_PIN_11;
  GPIO_InitStruct.Mode = LL_GPIO_MODE_OUTPUT;
  GPIO_InitStruct.Speed = LL_GPIO_SPEED_FREQ_VERY_HIGH;
  GPIO_InitStruct.OutputType = LL_GPIO_OUTPUT_PUSHPULL;
  GPIO_InitStruct.Pull = LL_GPIO_PULL_NO;
  LL_GPIO_Init(GPIOC, &GPIO_InitStruct);

  /**/
  GPIO_InitStruct.Pin = LL_GPIO_PIN_7;
  GPIO_InitStruct.Mode = LL_GPIO_MODE_OUTPUT;
  GPIO_InitStruct.Speed = LL_GPIO_SPEED_FREQ_LOW;
  GPIO_InitStruct.OutputType = LL_GPIO_OUTPUT_PUSHPULL;
  GPIO_InitStruct.Pull = LL_GPIO_PULL_NO;
  LL_GPIO_Init(GPIOB, &GPIO_InitStruct);

}

void Error_Handler(void)
{
}

/************************ (C) COPYRIGHT STMicroelectronics *****END OF FILE****/
